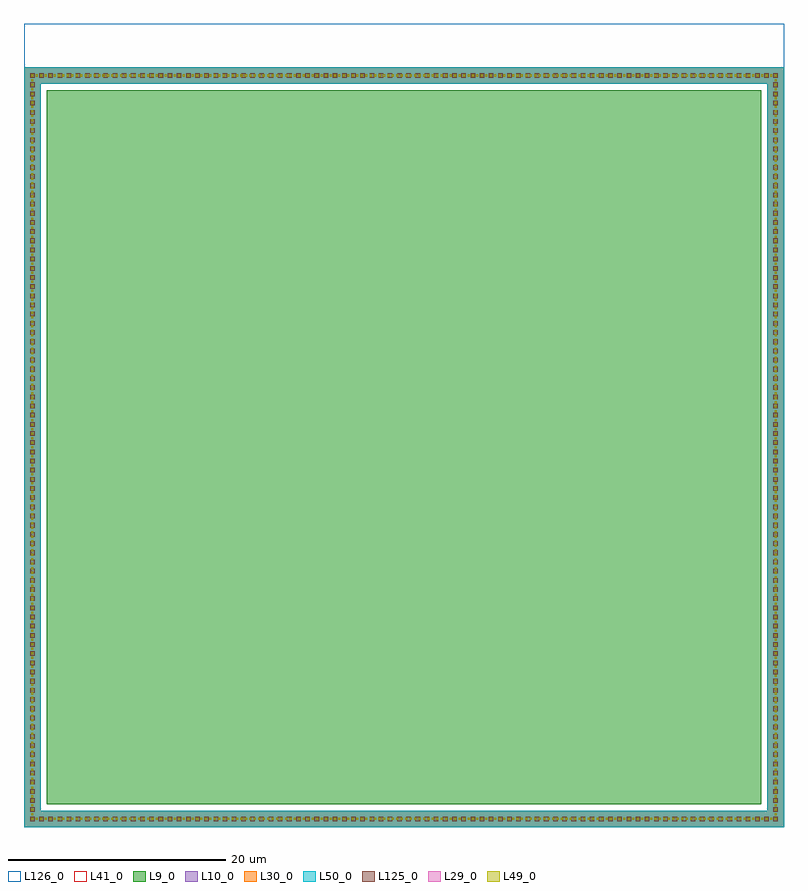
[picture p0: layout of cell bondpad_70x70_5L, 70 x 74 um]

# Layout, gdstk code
import gdstk
lib = gdstk.Library(unit=1e-6, precision=1e-09)
def R(c, l, rs):  # rectangles x0, y0, x1, y1
    for r in rs: c.add(gdstk.rectangle(r[:2], r[2:], *l))
def A(c, l, x, y, w, h, nx, ny, dx, dy):  # array of equal rectangles
    R(c, l, [(x+i*dx, y+j*dy, x+i*dx+w, y+j*dy+h) for i in range(nx) for j in range(ny)])
def P(c, l, *ps):  # polygons
    for p in ps: c.add(gdstk.Polygon(p, *l))
L9_0 = (9, 0)
L10_0 = (10, 0)
L29_0 = (29, 0)
L30_0 = (30, 0)
L41_0 = (41, 0)
L49_0 = (49, 0)
L50_0 = (50, 0)
L125_0 = (125, 0)
L126_0 = (126, 0)

bondpad_2 = lib.new_cell('bondpad$2')
R(bondpad_2, L9_0, [(-32.9,-32.9,32.9,32.9)])
P(bondpad_2, L10_0, [(-35,-35),(-35,35),(35,35),(35,-35),(-35,-35),(-33.47,-33.47),(33.47,-33.47),(33.47,33.47),(-33.47,33.47),(-33.47,-33.47)])
A(bondpad_2, L29_0, -34.33, -34.33, 0.19, 0.19, 168, 2, 0.41, 68.47)
A(bondpad_2, L29_0, -34.33, -33.91, 0.19, 0.19, 1, 3, 0, 0.41)
A(bondpad_2, L29_0, 34.14, -33.91, 0.19, 0.19, 1, 3, 0, 0.41)
A(bondpad_2, L29_0, -34.33, -26.075, 0.19, 0.19, 1, 3, 0, 0.41)
A(bondpad_2, L29_0, 34.14, -26.075, 0.19, 0.19, 1, 3, 0, 0.41)
A(bondpad_2, L29_0, -34.33, -17.415, 0.19, 0.19, 1, 3, 0, 0.41)
A(bondpad_2, L29_0, 34.14, -17.415, 0.19, 0.19, 1, 3, 0, 0.41)
A(bondpad_2, L29_0, -34.33, -8.755, 0.19, 0.19, 1, 3, 0, 0.41)
A(bondpad_2, L29_0, 34.14, -8.755, 0.19, 0.19, 1, 3, 0, 0.41)
A(bondpad_2, L29_0, -34.33, -0.095, 0.19, 0.19, 1, 3, 0, 0.41)
A(bondpad_2, L29_0, 34.14, -0.095, 0.19, 0.19, 1, 3, 0, 0.41)
A(bondpad_2, L29_0, -34.33, 7.74, 0.19, 0.19, 1, 3, 0, 0.41)
A(bondpad_2, L29_0, 34.14, 7.74, 0.19, 0.19, 1, 3, 0, 0.41)
A(bondpad_2, L29_0, -34.33, 16.4, 0.19, 0.19, 1, 3, 0, 0.41)
A(bondpad_2, L29_0, 34.14, 16.4, 0.19, 0.19, 1, 3, 0, 0.41)
A(bondpad_2, L29_0, -34.33, 25.06, 0.19, 0.19, 1, 3, 0, 0.41)
A(bondpad_2, L29_0, 34.14, 25.06, 0.19, 0.19, 1, 3, 0, 0.41)
R(bondpad_2, L29_0, [(-34.33,-32.675,-34.14,-32.485), (34.14,-32.675,34.33,-32.485), (-34.33,-32.265,-34.14,-32.075), (34.14,-32.265,34.33,-32.075), (-34.33,-31.85,-34.14,-31.66), (34.14,-31.85,34.33,-31.66), (-34.33,-31.44,-34.14,-31.25), (34.14,-31.44,34.33,-31.25), (-34.33,-31.025,-34.14,-30.835), (34.14,-31.025,34.33,-30.835), (-34.33,-30.615,-34.14,-30.425), (34.14,-30.615,34.33,-30.425), (-34.33,-30.2,-34.14,-30.01), (34.14,-30.2,34.33,-30.01), (-34.33,-29.79,-34.14,-29.6), (34.14,-29.79,34.33,-29.6), (-34.33,-29.375,-34.14,-29.185), (34.14,-29.375,34.33,-29.185), (-34.33,-28.965,-34.14,-28.775), (34.14,-28.965,34.33,-28.775), (-34.33,-28.55,-34.14,-28.36), (34.14,-28.55,34.33,-28.36), (-34.33,-28.14,-34.14,-27.95), (34.14,-28.14,34.33,-27.95), (-34.33,-27.725,-34.14,-27.535), (34.14,-27.725,34.33,-27.535), (-34.33,-27.315,-34.14,-27.125), (34.14,-27.315,34.33,-27.125), (-34.33,-26.9,-34.14,-26.71), (34.14,-26.9,34.33,-26.71), (-34.33,-26.49,-34.14,-26.3), (34.14,-26.49,34.33,-26.3), (-34.33,-24.84,-34.14,-24.65), (34.14,-24.84,34.33,-24.65), (-34.33,-24.43,-34.14,-24.24), (34.14,-24.43,34.33,-24.24), (-34.33,-24.015,-34.14,-23.825), (34.14,-24.015,34.33,-23.825), (-34.33,-23.605,-34.14,-23.415), (34.14,-23.605,34.33,-23.415), (-34.33,-23.19,-34.14,-23), (34.14,-23.19,34.33,-23), (-34.33,-22.78,-34.14,-22.59), (34.14,-22.78,34.33,-22.59), (-34.33,-22.365,-34.14,-22.175), (34.14,-22.365,34.33,-22.175), (-34.33,-21.955,-34.14,-21.765), (34.14,-21.955,34.33,-21.765), (-34.33,-21.54,-34.14,-21.35), (34.14,-21.54,34.33,-21.35), (-34.33,-21.13,-34.14,-20.94), (34.14,-21.13,34.33,-20.94), (-34.33,-20.715,-34.14,-20.525), (34.14,-20.715,34.33,-20.525), (-34.33,-20.305,-34.14,-20.115), (34.14,-20.305,34.33,-20.115), (-34.33,-19.89,-34.14,-19.7), (34.14,-19.89,34.33,-19.7), (-34.33,-19.48,-34.14,-19.29), (34.14,-19.48,34.33,-19.29), (-34.33,-19.065,-34.14,-18.875), (34.14,-19.065,34.33,-18.875), (-34.33,-18.655,-34.14,-18.465), (34.14,-18.655,34.33,-18.465), (-34.33,-18.24,-34.14,-18.05), (34.14,-18.24,34.33,-18.05), (-34.33,-17.83,-34.14,-17.64), (34.14,-17.83,34.33,-17.64), (-34.33,-16.18,-34.14,-15.99), (34.14,-16.18,34.33,-15.99), (-34.33,-15.77,-34.14,-15.58), (34.14,-15.77,34.33,-15.58), (-34.33,-15.355,-34.14,-15.165), (34.14,-15.355,34.33,-15.165), (-34.33,-14.945,-34.14,-14.755), (34.14,-14.945,34.33,-14.755), (-34.33,-14.53,-34.14,-14.34), (34.14,-14.53,34.33,-14.34), (-34.33,-14.12,-34.14,-13.93), (34.14,-14.12,34.33,-13.93), (-34.33,-13.705,-34.14,-13.515), (34.14,-13.705,34.33,-13.515), (-34.33,-13.295,-34.14,-13.105), (34.14,-13.295,34.33,-13.105), (-34.33,-12.88,-34.14,-12.69), (34.14,-12.88,34.33,-12.69), (-34.33,-12.47,-34.14,-12.28), (34.14,-12.47,34.33,-12.28), (-34.33,-12.055,-34.14,-11.865), (34.14,-12.055,34.33,-11.865), (-34.33,-11.645,-34.14,-11.455), (34.14,-11.645,34.33,-11.455), (-34.33,-11.23,-34.14,-11.04), (34.14,-11.23,34.33,-11.04), (-34.33,-10.82,-34.14,-10.63), (34.14,-10.82,34.33,-10.63), (-34.33,-10.405,-34.14,-10.215), (34.14,-10.405,34.33,-10.215), (-34.33,-9.995,-34.14,-9.805), (34.14,-9.995,34.33,-9.805), (-34.33,-9.58,-34.14,-9.39), (34.14,-9.58,34.33,-9.39), (-34.33,-9.17,-34.14,-8.98), (34.14,-9.17,34.33,-8.98), (-34.33,-7.52,-34.14,-7.33), (34.14,-7.52,34.33,-7.33), (-34.33,-7.11,-34.14,-6.92), (34.14,-7.11,34.33,-6.92), (-34.33,-6.695,-34.14,-6.505), (34.14,-6.695,34.33,-6.505), (-34.33,-6.285,-34.14,-6.095), (34.14,-6.285,34.33,-6.095), (-34.33,-5.87,-34.14,-5.68), (34.14,-5.87,34.33,-5.68), (-34.33,-5.46,-34.14,-5.27), (34.14,-5.46,34.33,-5.27), (-34.33,-5.045,-34.14,-4.855), (34.14,-5.045,34.33,-4.855), (-34.33,-4.635,-34.14,-4.445), (34.14,-4.635,34.33,-4.445), (-34.33,-4.22,-34.14,-4.03), (34.14,-4.22,34.33,-4.03), (-34.33,-3.81,-34.14,-3.62), (34.14,-3.81,34.33,-3.62), (-34.33,-3.395,-34.14,-3.205), (34.14,-3.395,34.33,-3.205), (-34.33,-2.985,-34.14,-2.795), (34.14,-2.985,34.33,-2.795), (-34.33,-2.57,-34.14,-2.38), (34.14,-2.57,34.33,-2.38), (-34.33,-2.16,-34.14,-1.97), (34.14,-2.16,34.33,-1.97), (-34.33,-1.745,-34.14,-1.555), (34.14,-1.745,34.33,-1.555), (-34.33,-1.335,-34.14,-1.145), (34.14,-1.335,34.33,-1.145), (-34.33,-0.92,-34.14,-0.73), (34.14,-0.92,34.33,-0.73), (-34.33,-0.51,-34.14,-0.32), (34.14,-0.51,34.33,-0.32), (-34.33,1.14,-34.14,1.33), (34.14,1.14,34.33,1.33), (-34.33,1.55,-34.14,1.74), (34.14,1.55,34.33,1.74), (-34.33,1.965,-34.14,2.155), (34.14,1.965,34.33,2.155), (-34.33,2.375,-34.14,2.565), (34.14,2.375,34.33,2.565), (-34.33,2.79,-34.14,2.98), (34.14,2.79,34.33,2.98), (-34.33,3.2,-34.14,3.39), (34.14,3.2,34.33,3.39), (-34.33,3.615,-34.14,3.805), (34.14,3.615,34.33,3.805), (-34.33,4.025,-34.14,4.215), (34.14,4.025,34.33,4.215), (-34.33,4.44,-34.14,4.63), (34.14,4.44,34.33,4.63), (-34.33,4.85,-34.14,5.04), (34.14,4.85,34.33,5.04), (-34.33,5.265,-34.14,5.455), (34.14,5.265,34.33,5.455), (-34.33,5.675,-34.14,5.865), (34.14,5.675,34.33,5.865), (-34.33,6.09,-34.14,6.28), (34.14,6.09,34.33,6.28), (-34.33,6.5,-34.14,6.69), (34.14,6.5,34.33,6.69), (-34.33,6.915,-34.14,7.105), (34.14,6.915,34.33,7.105), (-34.33,7.325,-34.14,7.515), (34.14,7.325,34.33,7.515), (-34.33,8.975,-34.14,9.165), (34.14,8.975,34.33,9.165), (-34.33,9.385,-34.14,9.575), (34.14,9.385,34.33,9.575), (-34.33,9.8,-34.14,9.99), (34.14,9.8,34.33,9.99), (-34.33,10.21,-34.14,10.4), (34.14,10.21,34.33,10.4), (-34.33,10.625,-34.14,10.815), (34.14,10.625,34.33,10.815), (-34.33,11.035,-34.14,11.225), (34.14,11.035,34.33,11.225), (-34.33,11.45,-34.14,11.64), (34.14,11.45,34.33,11.64), (-34.33,11.86,-34.14,12.05), (34.14,11.86,34.33,12.05), (-34.33,12.275,-34.14,12.465), (34.14,12.275,34.33,12.465), (-34.33,12.685,-34.14,12.875), (34.14,12.685,34.33,12.875), (-34.33,13.1,-34.14,13.29), (34.14,13.1,34.33,13.29), (-34.33,13.51,-34.14,13.7), (34.14,13.51,34.33,13.7), (-34.33,13.925,-34.14,14.115), (34.14,13.925,34.33,14.115), (-34.33,14.335,-34.14,14.525), (34.14,14.335,34.33,14.525), (-34.33,14.75,-34.14,14.94), (34.14,14.75,34.33,14.94), (-34.33,15.16,-34.14,15.35), (34.14,15.16,34.33,15.35), (-34.33,15.575,-34.14,15.765), (34.14,15.575,34.33,15.765), (-34.33,15.985,-34.14,16.175), (34.14,15.985,34.33,16.175), (-34.33,17.635,-34.14,17.825), (34.14,17.635,34.33,17.825), (-34.33,18.045,-34.14,18.235), (34.14,18.045,34.33,18.235), (-34.33,18.46,-34.14,18.65), (34.14,18.46,34.33,18.65), (-34.33,18.87,-34.14,19.06), (34.14,18.87,34.33,19.06), (-34.33,19.285,-34.14,19.475), (34.14,19.285,34.33,19.475), (-34.33,19.695,-34.14,19.885), (34.14,19.695,34.33,19.885), (-34.33,20.11,-34.14,20.3), (34.14,20.11,34.33,20.3), (-34.33,20.52,-34.14,20.71), (34.14,20.52,34.33,20.71), (-34.33,20.935,-34.14,21.125), (34.14,20.935,34.33,21.125), (-34.33,21.345,-34.14,21.535), (34.14,21.345,34.33,21.535), (-34.33,21.76,-34.14,21.95), (34.14,21.76,34.33,21.95), (-34.33,22.17,-34.14,22.36), (34.14,22.17,34.33,22.36), (-34.33,22.585,-34.14,22.775), (34.14,22.585,34.33,22.775), (-34.33,22.995,-34.14,23.185), (34.14,22.995,34.33,23.185), (-34.33,23.41,-34.14,23.6), (34.14,23.41,34.33,23.6), (-34.33,23.82,-34.14,24.01), (34.14,23.82,34.33,24.01), (-34.33,24.235,-34.14,24.425), (34.14,24.235,34.33,24.425), (-34.33,24.645,-34.14,24.835), (34.14,24.645,34.33,24.835), (-34.33,26.295,-34.14,26.485), (34.14,26.295,34.33,26.485), (-34.33,26.705,-34.14,26.895), (34.14,26.705,34.33,26.895), (-34.33,27.12,-34.14,27.31), (34.14,27.12,34.33,27.31), (-34.33,27.53,-34.14,27.72), (34.14,27.53,34.33,27.72), (-34.33,27.945,-34.14,28.135), (34.14,27.945,34.33,28.135), (-34.33,28.355,-34.14,28.545), (34.14,28.355,34.33,28.545), (-34.33,28.77,-34.14,28.96), (34.14,28.77,34.33,28.96), (-34.33,29.18,-34.14,29.37), (34.14,29.18,34.33,29.37), (-34.33,29.595,-34.14,29.785), (34.14,29.595,34.33,29.785), (-34.33,30.005,-34.14,30.195), (34.14,30.005,34.33,30.195), (-34.33,30.42,-34.14,30.61), (34.14,30.42,34.33,30.61), (-34.33,30.83,-34.14,31.02), (34.14,30.83,34.33,31.02), (-34.33,31.245,-34.14,31.435), (34.14,31.245,34.33,31.435), (-34.33,31.655,-34.14,31.845), (34.14,31.655,34.33,31.845), (-34.33,32.07,-34.14,32.26), (34.14,32.07,34.33,32.26), (-34.33,32.48,-34.14,32.67), (34.14,32.48,34.33,32.67), (-34.33,32.895,-34.14,33.085), (34.14,32.895,34.33,33.085), (-34.33,33.305,-34.14,33.495), (34.14,33.305,34.33,33.495), (-34.33,33.72,-34.14,33.91), (34.14,33.72,34.33,33.91)])
P(bondpad_2, L30_0, [(-35,-35),(-35,35),(35,35),(35,-35),(-35,-35),(-33.47,-33.47),(33.47,-33.47),(33.47,33.47),(-33.47,33.47),(-33.47,-33.47)])
R(bondpad_2, L41_0, [(-35,-35,35,35)])
A(bondpad_2, L49_0, -34.33, -34.33, 0.19, 0.19, 168, 2, 0.41, 68.47)
A(bondpad_2, L49_0, -34.33, -33.91, 0.19, 0.19, 1, 3, 0, 0.41)
A(bondpad_2, L49_0, 34.14, -33.91, 0.19, 0.19, 1, 3, 0, 0.41)
A(bondpad_2, L49_0, -34.33, -26.075, 0.19, 0.19, 1, 3, 0, 0.41)
A(bondpad_2, L49_0, 34.14, -26.075, 0.19, 0.19, 1, 3, 0, 0.41)
A(bondpad_2, L49_0, -34.33, -17.415, 0.19, 0.19, 1, 3, 0, 0.41)
A(bondpad_2, L49_0, 34.14, -17.415, 0.19, 0.19, 1, 3, 0, 0.41)
A(bondpad_2, L49_0, -34.33, -8.755, 0.19, 0.19, 1, 3, 0, 0.41)
A(bondpad_2, L49_0, 34.14, -8.755, 0.19, 0.19, 1, 3, 0, 0.41)
A(bondpad_2, L49_0, -34.33, -0.095, 0.19, 0.19, 1, 3, 0, 0.41)
A(bondpad_2, L49_0, 34.14, -0.095, 0.19, 0.19, 1, 3, 0, 0.41)
A(bondpad_2, L49_0, -34.33, 7.74, 0.19, 0.19, 1, 3, 0, 0.41)
A(bondpad_2, L49_0, 34.14, 7.74, 0.19, 0.19, 1, 3, 0, 0.41)
A(bondpad_2, L49_0, -34.33, 16.4, 0.19, 0.19, 1, 3, 0, 0.41)
A(bondpad_2, L49_0, 34.14, 16.4, 0.19, 0.19, 1, 3, 0, 0.41)
A(bondpad_2, L49_0, -34.33, 25.06, 0.19, 0.19, 1, 3, 0, 0.41)
A(bondpad_2, L49_0, 34.14, 25.06, 0.19, 0.19, 1, 3, 0, 0.41)
R(bondpad_2, L49_0, [(-34.33,-32.675,-34.14,-32.485), (34.14,-32.675,34.33,-32.485), (-34.33,-32.265,-34.14,-32.075), (34.14,-32.265,34.33,-32.075), (-34.33,-31.85,-34.14,-31.66), (34.14,-31.85,34.33,-31.66), (-34.33,-31.44,-34.14,-31.25), (34.14,-31.44,34.33,-31.25), (-34.33,-31.025,-34.14,-30.835), (34.14,-31.025,34.33,-30.835), (-34.33,-30.615,-34.14,-30.425), (34.14,-30.615,34.33,-30.425), (-34.33,-30.2,-34.14,-30.01), (34.14,-30.2,34.33,-30.01), (-34.33,-29.79,-34.14,-29.6), (34.14,-29.79,34.33,-29.6), (-34.33,-29.375,-34.14,-29.185), (34.14,-29.375,34.33,-29.185), (-34.33,-28.965,-34.14,-28.775), (34.14,-28.965,34.33,-28.775), (-34.33,-28.55,-34.14,-28.36), (34.14,-28.55,34.33,-28.36), (-34.33,-28.14,-34.14,-27.95), (34.14,-28.14,34.33,-27.95), (-34.33,-27.725,-34.14,-27.535), (34.14,-27.725,34.33,-27.535), (-34.33,-27.315,-34.14,-27.125), (34.14,-27.315,34.33,-27.125), (-34.33,-26.9,-34.14,-26.71), (34.14,-26.9,34.33,-26.71), (-34.33,-26.49,-34.14,-26.3), (34.14,-26.49,34.33,-26.3), (-34.33,-24.84,-34.14,-24.65), (34.14,-24.84,34.33,-24.65), (-34.33,-24.43,-34.14,-24.24), (34.14,-24.43,34.33,-24.24), (-34.33,-24.015,-34.14,-23.825), (34.14,-24.015,34.33,-23.825), (-34.33,-23.605,-34.14,-23.415), (34.14,-23.605,34.33,-23.415), (-34.33,-23.19,-34.14,-23), (34.14,-23.19,34.33,-23), (-34.33,-22.78,-34.14,-22.59), (34.14,-22.78,34.33,-22.59), (-34.33,-22.365,-34.14,-22.175), (34.14,-22.365,34.33,-22.175), (-34.33,-21.955,-34.14,-21.765), (34.14,-21.955,34.33,-21.765), (-34.33,-21.54,-34.14,-21.35), (34.14,-21.54,34.33,-21.35), (-34.33,-21.13,-34.14,-20.94), (34.14,-21.13,34.33,-20.94), (-34.33,-20.715,-34.14,-20.525), (34.14,-20.715,34.33,-20.525), (-34.33,-20.305,-34.14,-20.115), (34.14,-20.305,34.33,-20.115), (-34.33,-19.89,-34.14,-19.7), (34.14,-19.89,34.33,-19.7), (-34.33,-19.48,-34.14,-19.29), (34.14,-19.48,34.33,-19.29), (-34.33,-19.065,-34.14,-18.875), (34.14,-19.065,34.33,-18.875), (-34.33,-18.655,-34.14,-18.465), (34.14,-18.655,34.33,-18.465), (-34.33,-18.24,-34.14,-18.05), (34.14,-18.24,34.33,-18.05), (-34.33,-17.83,-34.14,-17.64), (34.14,-17.83,34.33,-17.64), (-34.33,-16.18,-34.14,-15.99), (34.14,-16.18,34.33,-15.99), (-34.33,-15.77,-34.14,-15.58), (34.14,-15.77,34.33,-15.58), (-34.33,-15.355,-34.14,-15.165), (34.14,-15.355,34.33,-15.165), (-34.33,-14.945,-34.14,-14.755), (34.14,-14.945,34.33,-14.755), (-34.33,-14.53,-34.14,-14.34), (34.14,-14.53,34.33,-14.34), (-34.33,-14.12,-34.14,-13.93), (34.14,-14.12,34.33,-13.93), (-34.33,-13.705,-34.14,-13.515), (34.14,-13.705,34.33,-13.515), (-34.33,-13.295,-34.14,-13.105), (34.14,-13.295,34.33,-13.105), (-34.33,-12.88,-34.14,-12.69), (34.14,-12.88,34.33,-12.69), (-34.33,-12.47,-34.14,-12.28), (34.14,-12.47,34.33,-12.28), (-34.33,-12.055,-34.14,-11.865), (34.14,-12.055,34.33,-11.865), (-34.33,-11.645,-34.14,-11.455), (34.14,-11.645,34.33,-11.455), (-34.33,-11.23,-34.14,-11.04), (34.14,-11.23,34.33,-11.04), (-34.33,-10.82,-34.14,-10.63), (34.14,-10.82,34.33,-10.63), (-34.33,-10.405,-34.14,-10.215), (34.14,-10.405,34.33,-10.215), (-34.33,-9.995,-34.14,-9.805), (34.14,-9.995,34.33,-9.805), (-34.33,-9.58,-34.14,-9.39), (34.14,-9.58,34.33,-9.39), (-34.33,-9.17,-34.14,-8.98), (34.14,-9.17,34.33,-8.98), (-34.33,-7.52,-34.14,-7.33), (34.14,-7.52,34.33,-7.33), (-34.33,-7.11,-34.14,-6.92), (34.14,-7.11,34.33,-6.92), (-34.33,-6.695,-34.14,-6.505), (34.14,-6.695,34.33,-6.505), (-34.33,-6.285,-34.14,-6.095), (34.14,-6.285,34.33,-6.095), (-34.33,-5.87,-34.14,-5.68), (34.14,-5.87,34.33,-5.68), (-34.33,-5.46,-34.14,-5.27), (34.14,-5.46,34.33,-5.27), (-34.33,-5.045,-34.14,-4.855), (34.14,-5.045,34.33,-4.855), (-34.33,-4.635,-34.14,-4.445), (34.14,-4.635,34.33,-4.445), (-34.33,-4.22,-34.14,-4.03), (34.14,-4.22,34.33,-4.03), (-34.33,-3.81,-34.14,-3.62), (34.14,-3.81,34.33,-3.62), (-34.33,-3.395,-34.14,-3.205), (34.14,-3.395,34.33,-3.205), (-34.33,-2.985,-34.14,-2.795), (34.14,-2.985,34.33,-2.795), (-34.33,-2.57,-34.14,-2.38), (34.14,-2.57,34.33,-2.38), (-34.33,-2.16,-34.14,-1.97), (34.14,-2.16,34.33,-1.97), (-34.33,-1.745,-34.14,-1.555), (34.14,-1.745,34.33,-1.555), (-34.33,-1.335,-34.14,-1.145), (34.14,-1.335,34.33,-1.145), (-34.33,-0.92,-34.14,-0.73), (34.14,-0.92,34.33,-0.73), (-34.33,-0.51,-34.14,-0.32), (34.14,-0.51,34.33,-0.32), (-34.33,1.14,-34.14,1.33), (34.14,1.14,34.33,1.33), (-34.33,1.55,-34.14,1.74), (34.14,1.55,34.33,1.74), (-34.33,1.965,-34.14,2.155), (34.14,1.965,34.33,2.155), (-34.33,2.375,-34.14,2.565), (34.14,2.375,34.33,2.565), (-34.33,2.79,-34.14,2.98), (34.14,2.79,34.33,2.98), (-34.33,3.2,-34.14,3.39), (34.14,3.2,34.33,3.39), (-34.33,3.615,-34.14,3.805), (34.14,3.615,34.33,3.805), (-34.33,4.025,-34.14,4.215), (34.14,4.025,34.33,4.215), (-34.33,4.44,-34.14,4.63), (34.14,4.44,34.33,4.63), (-34.33,4.85,-34.14,5.04), (34.14,4.85,34.33,5.04), (-34.33,5.265,-34.14,5.455), (34.14,5.265,34.33,5.455), (-34.33,5.675,-34.14,5.865), (34.14,5.675,34.33,5.865), (-34.33,6.09,-34.14,6.28), (34.14,6.09,34.33,6.28), (-34.33,6.5,-34.14,6.69), (34.14,6.5,34.33,6.69), (-34.33,6.915,-34.14,7.105), (34.14,6.915,34.33,7.105), (-34.33,7.325,-34.14,7.515), (34.14,7.325,34.33,7.515), (-34.33,8.975,-34.14,9.165), (34.14,8.975,34.33,9.165), (-34.33,9.385,-34.14,9.575), (34.14,9.385,34.33,9.575), (-34.33,9.8,-34.14,9.99), (34.14,9.8,34.33,9.99), (-34.33,10.21,-34.14,10.4), (34.14,10.21,34.33,10.4), (-34.33,10.625,-34.14,10.815), (34.14,10.625,34.33,10.815), (-34.33,11.035,-34.14,11.225), (34.14,11.035,34.33,11.225), (-34.33,11.45,-34.14,11.64), (34.14,11.45,34.33,11.64), (-34.33,11.86,-34.14,12.05), (34.14,11.86,34.33,12.05), (-34.33,12.275,-34.14,12.465), (34.14,12.275,34.33,12.465), (-34.33,12.685,-34.14,12.875), (34.14,12.685,34.33,12.875), (-34.33,13.1,-34.14,13.29), (34.14,13.1,34.33,13.29), (-34.33,13.51,-34.14,13.7), (34.14,13.51,34.33,13.7), (-34.33,13.925,-34.14,14.115), (34.14,13.925,34.33,14.115), (-34.33,14.335,-34.14,14.525), (34.14,14.335,34.33,14.525), (-34.33,14.75,-34.14,14.94), (34.14,14.75,34.33,14.94), (-34.33,15.16,-34.14,15.35), (34.14,15.16,34.33,15.35), (-34.33,15.575,-34.14,15.765), (34.14,15.575,34.33,15.765), (-34.33,15.985,-34.14,16.175), (34.14,15.985,34.33,16.175), (-34.33,17.635,-34.14,17.825), (34.14,17.635,34.33,17.825), (-34.33,18.045,-34.14,18.235), (34.14,18.045,34.33,18.235), (-34.33,18.46,-34.14,18.65), (34.14,18.46,34.33,18.65), (-34.33,18.87,-34.14,19.06), (34.14,18.87,34.33,19.06), (-34.33,19.285,-34.14,19.475), (34.14,19.285,34.33,19.475), (-34.33,19.695,-34.14,19.885), (34.14,19.695,34.33,19.885), (-34.33,20.11,-34.14,20.3), (34.14,20.11,34.33,20.3), (-34.33,20.52,-34.14,20.71), (34.14,20.52,34.33,20.71), (-34.33,20.935,-34.14,21.125), (34.14,20.935,34.33,21.125), (-34.33,21.345,-34.14,21.535), (34.14,21.345,34.33,21.535), (-34.33,21.76,-34.14,21.95), (34.14,21.76,34.33,21.95), (-34.33,22.17,-34.14,22.36), (34.14,22.17,34.33,22.36), (-34.33,22.585,-34.14,22.775), (34.14,22.585,34.33,22.775), (-34.33,22.995,-34.14,23.185), (34.14,22.995,34.33,23.185), (-34.33,23.41,-34.14,23.6), (34.14,23.41,34.33,23.6), (-34.33,23.82,-34.14,24.01), (34.14,23.82,34.33,24.01), (-34.33,24.235,-34.14,24.425), (34.14,24.235,34.33,24.425), (-34.33,24.645,-34.14,24.835), (34.14,24.645,34.33,24.835), (-34.33,26.295,-34.14,26.485), (34.14,26.295,34.33,26.485), (-34.33,26.705,-34.14,26.895), (34.14,26.705,34.33,26.895), (-34.33,27.12,-34.14,27.31), (34.14,27.12,34.33,27.31), (-34.33,27.53,-34.14,27.72), (34.14,27.53,34.33,27.72), (-34.33,27.945,-34.14,28.135), (34.14,27.945,34.33,28.135), (-34.33,28.355,-34.14,28.545), (34.14,28.355,34.33,28.545), (-34.33,28.77,-34.14,28.96), (34.14,28.77,34.33,28.96), (-34.33,29.18,-34.14,29.37), (34.14,29.18,34.33,29.37), (-34.33,29.595,-34.14,29.785), (34.14,29.595,34.33,29.785), (-34.33,30.005,-34.14,30.195), (34.14,30.005,34.33,30.195), (-34.33,30.42,-34.14,30.61), (34.14,30.42,34.33,30.61), (-34.33,30.83,-34.14,31.02), (34.14,30.83,34.33,31.02), (-34.33,31.245,-34.14,31.435), (34.14,31.245,34.33,31.435), (-34.33,31.655,-34.14,31.845), (34.14,31.655,34.33,31.845), (-34.33,32.07,-34.14,32.26), (34.14,32.07,34.33,32.26), (-34.33,32.48,-34.14,32.67), (34.14,32.48,34.33,32.67), (-34.33,32.895,-34.14,33.085), (34.14,32.895,34.33,33.085), (-34.33,33.305,-34.14,33.495), (34.14,33.305,34.33,33.495), (-34.33,33.72,-34.14,33.91), (34.14,33.72,34.33,33.91)])
P(bondpad_2, L50_0, [(-35,-35),(-35,35),(35,35),(35,-35),(-35,-35),(-33.47,-33.47),(33.47,-33.47),(33.47,33.47),(-33.47,33.47),(-33.47,-33.47)])
A(bondpad_2, L125_0, -34.445, -34.445, 0.42, 0.42, 17, 2, 0.845, 68.47)
A(bondpad_2, L125_0, -20.075, -34.445, 0.42, 0.42, 16, 2, 0.845, 68.47)
A(bondpad_2, L125_0, -6.55, -34.445, 0.42, 0.42, 16, 2, 0.845, 68.47)
A(bondpad_2, L125_0, 6.975, -34.445, 0.42, 0.42, 16, 2, 0.845, 68.47)
A(bondpad_2, L125_0, 20.5, -34.445, 0.42, 0.42, 16, 2, 0.845, 68.47)
A(bondpad_2, L125_0, -34.445, -33.595, 0.42, 0.42, 1, 27, 0, 0.845)
A(bondpad_2, L125_0, 34.025, -33.595, 0.42, 0.42, 1, 27, 0, 0.845)
A(bondpad_2, L125_0, -34.445, -10.775, 0.42, 0.42, 1, 26, 0, 0.845)
A(bondpad_2, L125_0, 34.025, -10.775, 0.42, 0.42, 1, 26, 0, 0.845)
A(bondpad_2, L125_0, -34.445, 11.2, 0.42, 0.42, 1, 26, 0, 0.845)
A(bondpad_2, L125_0, 34.025, 11.2, 0.42, 0.42, 1, 26, 0, 0.845)
R(bondpad_2, L125_0, [(34.025,-34.445,34.445,-34.025), (-34.445,33.175,-34.025,33.595), (34.025,33.175,34.445,33.595), (34.025,34.025,34.445,34.445)])
R(bondpad_2, L126_0, [(-35,-35,35,35)])

bondpad_70x70_5l = lib.new_cell('bondpad_70x70_5L')
R(bondpad_70x70_5l, L126_0, [(0,70,70,74)])
bondpad_70x70_5l.add(gdstk.Reference(bondpad_2, (35,35)))

lib.write_gds('bondpad_70x70_5L.gds')
